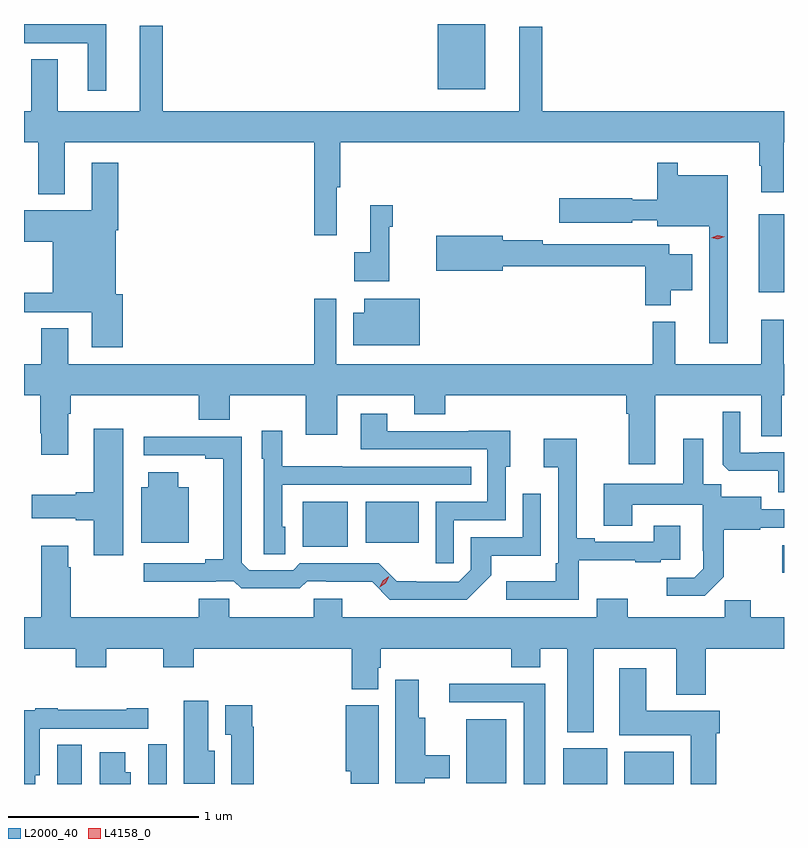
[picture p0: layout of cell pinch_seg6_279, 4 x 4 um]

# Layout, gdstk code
import gdstk
lib = gdstk.Library(unit=1e-6, precision=1e-09)
def R(c, l, rs):  # rectangles x0, y0, x1, y1
    for r in rs: c.add(gdstk.rectangle(r[:2], r[2:], *l))
def P(c, l, *ps):  # polygons
    for p in ps: c.add(gdstk.Polygon(p, *l))
L2000_40 = (2000, 40)
L4158_0 = (4158, 0)

pinch_seg6_279 = lib.new_cell('pinch_seg6_279')
R(pinch_seg6_279, L2000_40, [(867.989,990.579,868.117,990.785), (868.467,990.579,868.563,990.789), (870.65,990.579,870.883,990.766), (870.971,990.579,871.234,990.748), (870.14,990.584,870.352,990.919), (871.803,991.692,871.813,991.836), (869.279,991.829,869.518,992.065), (869.612,991.85,869.89,992.065), (871.679,993.167,871.813,993.577), (869.99,994.235,870.241,994.579)])
P(pinch_seg6_279, L2000_40, [(868.246,994.579),(867.813,994.579),(867.813,994.478),(868.148,994.478),(868.148,994.227),(868.246,994.227)],
  [(869.459,993.72),(869.477,993.72),(869.477,993.956),(871.683,993.956),(871.683,993.833),(871.694,993.833),(871.694,993.693),(871.811,993.693),(871.811,993.956),(871.813,993.956),(871.813,994.12),(870.541,994.12),(870.541,994.564),(870.419,994.564),(870.419,994.12),(868.543,994.12),(868.543,994.57),(868.421,994.57),(868.421,994.12),(867.991,994.12),(867.991,994.393),(867.851,994.393),(867.851,994.12),(867.813,994.12),(867.813,993.956),(867.887,993.956),(867.887,993.683),(868.027,993.683),(868.027,993.956),(869.341,993.956),(869.341,993.468),(869.459,993.468)],
  [(868.334,993.156),(868.297,993.156),(868.297,993.494),(868.31,993.494),(868.31,993.85),(868.169,993.85),(868.169,993.598),(867.813,993.598),(867.813,993.434),(867.965,993.434),(867.965,993.164),(867.813,993.164),(867.813,993.063),(868.169,993.063),(868.169,992.877),(868.334,992.877)],
  [(871.516,993.784),(871.255,993.784),(871.255,993.85),(871.145,993.85),(871.145,993.655),(871.014,993.655),(871.014,993.663),(870.63,993.663),(870.63,993.533),(871.014,993.533),(871.014,993.546),(871.145,993.546),(871.145,993.515),(871.419,993.515),(871.419,992.898),(871.516,992.898)],
  [(869.736,993.512),(869.753,993.512),(869.753,993.625),(869.636,993.625),(869.636,993.377),(869.55,993.377),(869.55,993.224),(869.736,993.224)],
  [(871.216,993.179),(871.33,993.179),(871.33,993.367),(871.21,993.367),(871.21,993.42),(870.542,993.42),(870.542,993.44),(870.334,993.44),(870.334,993.464),(869.982,993.464),(869.982,993.281),(870.334,993.281),(870.334,993.304),(871.082,993.304),(871.082,993.098),(871.216,993.098)],
  [(868.045,992.978),(867.905,992.978),(867.905,992.788),(867.813,992.788),(867.813,992.624),(867.898,992.624),(867.898,992.425),(867.905,992.425),(867.905,992.313),(868.045,992.313),(868.045,992.528),(868.058,992.528),(868.058,992.624),(868.733,992.624),(868.733,992.496),(868.897,992.496),(868.897,992.624),(869.297,992.624),(869.297,992.418),(869.461,992.418),(869.461,992.624),(869.867,992.624),(869.867,992.525),(870.031,992.525),(870.031,992.624),(870.983,992.624),(870.983,992.528),(870.995,992.528),(870.995,992.262),(871.135,992.262),(871.135,992.624),(871.692,992.624),(871.692,992.41),(871.801,992.41),(871.801,992.624),(871.813,992.624),(871.813,992.788),(871.811,992.788),(871.811,993.022),(871.694,993.022),(871.694,992.788),(871.241,992.788),(871.241,993.013),(871.123,993.013),(871.123,992.788),(869.457,992.788),(869.457,993.133),(869.341,993.133),(869.341,992.788),(868.045,992.788)],
  [(869.896,993.133),(869.603,993.133),(869.603,993.058),(869.546,993.058),(869.546,992.888),(869.896,992.888)],
  [(871.813,992.325),(871.684,992.325),(871.684,992.322),(871.584,992.322),(871.584,992.539),(871.491,992.539),(871.491,992.259),(871.523,992.228),(871.782,992.228),(871.782,992.115),(871.813,992.115)],
  [(870.075,991.968),(870.348,991.968),(870.348,992.25),(870.373,992.25),(870.373,992.438),(870.155,992.438),(870.155,992.436),(869.725,992.436),(869.725,992.527),(869.585,992.527),(869.585,992.34),(870.252,992.34),(870.252,992.064),(869.979,992.064),(869.979,991.74),(870.075,991.74)],
  [(868.336,992.449),(868.181,992.449),(868.181,992.114),(868.085,992.114),(868.085,992.101),(867.855,992.101),(867.855,991.979),(868.085,991.979),(868.085,991.967),(868.181,991.967),(868.181,991.782),(868.336,991.782)],
  [(869.188,991.932),(869.172,991.932),(869.172,992.154),(870.167,992.154),(870.167,992.25),(869.489,992.25),(869.489,992.251),(869.172,992.251),(869.172,992.437),(869.063,992.437),(869.063,992.292),(869.076,992.292),(869.076,991.789),(869.188,991.789)],
  [(870.273,991.679),(870.273,991.781),(870.534,991.781),(870.534,992.107),(870.438,992.107),(870.438,991.878),(870.165,991.878),(870.165,991.707),(870.102,991.644),(869.878,991.644),(869.878,991.646),(869.774,991.646),(869.679,991.74),(869.265,991.74),(869.229,991.704),(868.998,991.704),(868.959,991.743),(868.959,992.406),(868.443,992.406),(868.443,992.31),(868.766,992.31),(868.766,992.29),(868.862,992.29),(868.862,991.763),(868.766,991.763),(868.766,991.74),(868.443,991.74),(868.443,991.643),(868.823,991.643),(868.823,991.647),(868.917,991.647),(868.957,991.608),(869.265,991.608),(869.304,991.647),(869.404,991.647),(869.404,991.643),(869.645,991.643),(869.739,991.548),(870.142,991.548)],
  [(870.733,991.757),(871.031,991.757),(871.031,991.746),(871.163,991.746),(871.163,991.758),(871.267,991.758),(871.267,991.939),(871.127,991.939),(871.127,991.854),(870.817,991.854),(870.817,991.873),(870.721,991.873),(870.721,992.395),(870.549,992.395),(870.549,992.246),(870.624,992.246),(870.624,991.741),(870.612,991.741),(870.612,991.645),(870.351,991.645),(870.351,991.548),(870.733,991.548)],
  [(871.497,991.671),(871.497,991.917),(871.689,991.917),(871.689,991.929),(871.813,991.929),(871.813,992.025),(871.693,992.025),(871.693,992.092),(871.482,992.092),(871.482,992.156),(871.387,992.156),(871.387,992.395),(871.283,992.395),(871.283,992.158),(870.863,992.158),(870.863,991.939),(871.015,991.939),(871.015,992.048),(871.386,992.048),(871.386,991.807),(871.388,991.807),(871.388,991.712),(871.341,991.665),(871.197,991.665),(871.197,991.571),(871.397,991.571)],
  [(868.681,992.14),(868.624,992.14),(868.624,992.221),(868.466,992.221),(868.466,992.14),(868.43,992.14),(868.43,991.85),(868.681,991.85)],
  [(867.905,991.834),(867.905,991.456),(867.813,991.456),(867.813,991.292),(868.085,991.292),(868.085,991.193),(868.245,991.193),(868.245,991.292),(868.546,991.292),(868.546,991.193),(868.706,991.193),(868.706,991.292),(869.537,991.292),(869.537,991.079),(869.677,991.079),(869.677,991.191),(869.69,991.191),(869.69,991.292),(870.377,991.292),(870.377,991.193),(870.529,991.193),(870.529,991.292),(870.671,991.292),(870.671,990.851),(870.811,990.851),(870.811,991.292),(871.247,991.292),(871.247,991.049),(871.4,991.049),(871.4,991.292),(871.813,991.292),(871.813,991.456),(871.639,991.456),(871.639,991.547),(871.501,991.547),(871.501,991.456),(870.991,991.456),(870.991,991.555),(870.827,991.555),(870.827,991.456),(869.488,991.456),(869.488,991.554),(869.338,991.554),(869.338,991.456),(868.893,991.456),(868.893,991.554),(868.733,991.554),(868.733,991.456),(868.058,991.456),(868.058,991.721),(868.045,991.721),(868.045,991.834)],
  [(871.457,990.846),(871.475,990.846),(871.475,990.964),(871.087,990.964),(871.087,991.189),(870.947,991.189),(870.947,990.836),(871.322,990.836),(871.322,990.579),(871.457,990.579)],
  [(869.922,990.608),(870.055,990.608),(870.055,990.73),(869.926,990.73),(869.926,990.928),(869.89,990.928),(869.89,991.129),(869.768,991.129),(869.768,990.584),(869.922,990.584)],
  [(870.556,991.106),(870.051,991.106),(870.051,991.008),(870.443,991.008),(870.443,990.579),(870.556,990.579)],
  [(868.816,990.754),(868.783,990.754),(868.783,991.018),(868.655,991.018),(868.655,990.58),(868.816,990.58)],
  [(869.68,990.994),(869.507,990.994),(869.507,990.647),(869.534,990.647),(869.534,990.58),(869.68,990.58)],
  [(869.021,990.881),(869.014,990.881),(869.014,990.994),(868.871,990.994),(868.871,990.838),(868.905,990.838),(868.905,990.579),(869.021,990.579)],
  [(867.871,990.624),(867.895,990.624),(867.895,990.87),(868.467,990.87),(868.467,990.979),(868.355,990.979),(868.355,990.969),(867.991,990.969),(867.991,990.979),(867.871,990.979),(867.871,990.966),(867.813,990.966),(867.813,990.579),(867.871,990.579)],
  [(868.375,990.64),(868.345,990.64),(868.345,990.745),(868.211,990.745),(868.211,990.579),(868.375,990.579)])
P(pinch_seg6_279, L4158_0, [(871.465,993.446),(871.429,993.453),(871.429,993.453),(871.429,993.454),(871.464,993.466),(871.5,993.458),(871.5,993.458),(871.5,993.458)],
  [(869.686,991.615),(869.686,991.615),(869.701,991.649),(869.731,991.671),(869.732,991.671),(869.732,991.671),(869.717,991.636),(869.686,991.615)])

lib.write_gds('pinch_seg6_279.gds')
